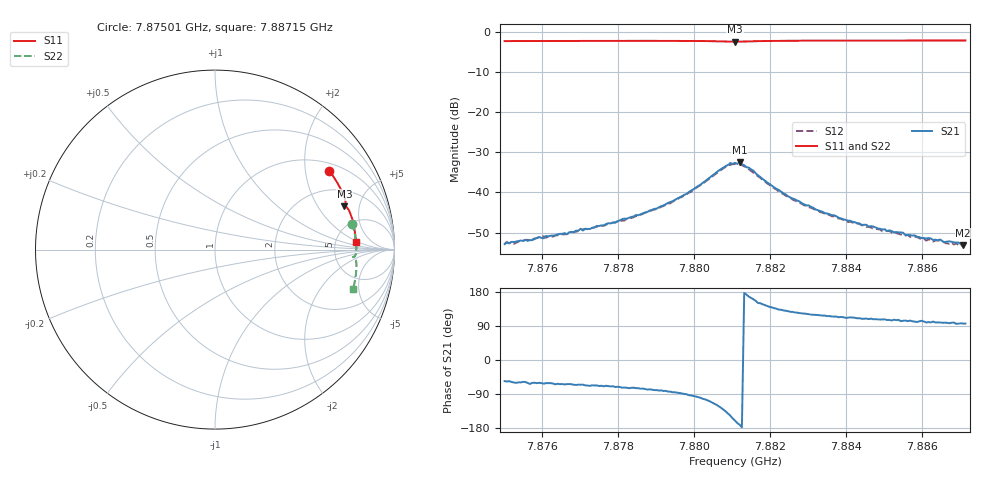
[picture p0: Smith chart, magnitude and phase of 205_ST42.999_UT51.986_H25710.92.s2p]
#  HZ  S  DB  R  50.00
! Rohde & Schwarz Vector Network Analyzer
! Rohde-Schwarz,ZNB20-2Port,1311601062101988,3.16
! Created: UTC 1/12/2023, 6:44:38 PM
! freq[Hz]  db:S11  ang:S11  db:S21  ang:S21  db:S12  ang:S12  db:S22  ang:S22
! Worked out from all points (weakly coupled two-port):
!   201 points, 7.87501 GHz to 7.88715 GHz, reference 50 ohm
!   highest |S21| = -32.49 dB at 7.8812 GHz (marker M1); lowest = -53.1 dB at 7.88708 GHz (marker M2)
!   lowest |S11| = -2.4 dB at 7.88108 GHz (marker M3), VSWR 7.34, Z = 156 + j177 ohm
!   |S11| at or under -10 dB: nowhere
!   |S22| runs from -2.3 to -1.9 dB; largest |S21 - S12| = 0.002
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7.875014e9  -2.24 34.5  -52.89 -55.8  -52.83 -60.1  -2.17 10.6
7.875075e9  -2.23 34.3  -52.53 -56.7  -52.32 -60.8  -2.17 10.5
7.875257e9  -2.23 33.8  -52.39 -59.1  -52.83 -62.1  -2.16 10.1
7.876652e9  -2.20 30.0  -50.43 -63.8  -50.36 -67.1  -2.12 6.8
7.877016e9  -2.20 29.0  -49.05 -65.2  -49.43 -70.0  -2.12 5.9
7.877077e9  -2.20 28.8  -49.50 -65.0  -49.17 -70.2  -2.10 5.8
7.878168e9  -2.18 25.8  -46.54 -72.7  -47.03 -76.5  -2.09 3.2
7.879078e9  -2.18 23.3  -43.68 -80.7  -43.87 -84.0  -2.07 1.0
7.879806e9  -2.19 21.2  -40.33 -90.5  -40.38 -94.4  -2.09 -0.8
7.880959e9  -2.38 18.5  -32.66 -147.0  -33.10 -150.6  -2.26 -3.2
7.88108e9  -2.38 18.4  -32.63 -159.8  -32.87 -162.2  -2.28 -3.1
7.881201e9  -2.37 18.4  -32.49 -170.6  -33.03 -174.2  -2.27 -3.0
7.882475e9  -2.16 15.4  -40.94 128.8  -41.07 125.1  -2.03 -5.4
7.883142e9  -2.14 13.5  -43.82 119.3  -44.11 116.5  -2.00 -7.0
7.884052e9  -2.11 11.1  -47.03 111.5  -47.39 108.9  -1.98 -9.1
7.884962e9  -2.11 8.7  -49.25 106.9  -49.72 104.3  -1.96 -11.1
7.885144e9  -2.10 8.2  -49.47 105.7  -49.64 101.9  -1.96 -11.5
7.886114e9  -2.09 5.6  -51.51 99.0  -52.03 96.2  -1.94 -13.7
7.886781e9  -2.08 3.9  -52.31 98.3  -52.51 93.9  -1.94 -15.1
7.887024e9  -2.09 3.2  -52.86 96.8  -53.41 93.5  -1.94 -15.6
7.887085e9  -2.08 3.1  -53.08 96.2  -52.96 94.2  -1.93 -15.7
7.887145e9  -2.08 2.9  -52.78 96.2  -53.25 91.2  -1.94 -15.9
